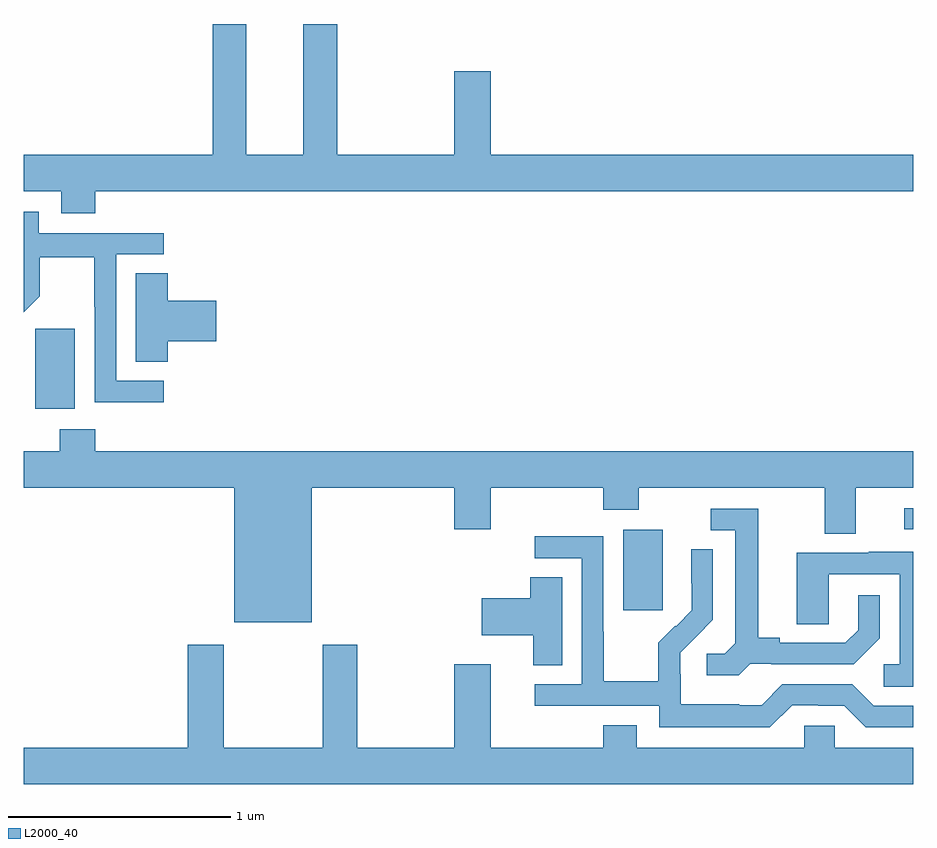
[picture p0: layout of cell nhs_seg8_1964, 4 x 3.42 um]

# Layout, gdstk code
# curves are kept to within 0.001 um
import gdstk
lib = gdstk.Library(unit=1e-6, precision=1e-09)
def R(c, l, rs):  # rectangles x0, y0, x1, y1
    for r in rs: c.add(gdstk.rectangle(r[:2], r[2:], *l))
def P(c, l, *ps):  # polygons
    for p in ps: c.add(gdstk.Polygon(p, *l))
L2000_40 = (2000, 40)

nhs_seg8_1964 = lib.new_cell('nhs_seg8_1964')
R(nhs_seg8_1964, L2000_40, [(237.695,1133.265,237.874,1133.626), (238.959,1133.628,239,1133.724), (235.052,1134.17,235.231,1134.531)])
P(nhs_seg8_1964, L2000_40, [(235.322,1135.148),(239,1135.148),(239,1135.312),(237.1,1135.312),(237.1,1135.687),(236.936,1135.687),(236.936,1135.312),(236.411,1135.312),(236.411,1135.9),(236.258,1135.9),(236.258,1135.312),(236.002,1135.312),(236.002,1135.9),(235.85,1135.9),(235.85,1135.312),(235,1135.312),(235,1135.148),(235.169,1135.148),(235.169,1135.049),(235.322,1135.049)],
  [(235.63,1134.297),(235.416,1134.297),(235.416,1134.864),(235.63,1134.864),(235.63,1134.96),(235.068,1134.96),(235.068,1135.057),(235,1135.057),(235,1134.604),(235.073,1134.677),(235.073,1134.852),(235.318,1134.852),(235.318,1134.628),(235.32,1134.628),(235.32,1134.199),(235.63,1134.199)],
  [(235.649,1134.473),(235.867,1134.473),(235.867,1134.656),(235.649,1134.656),(235.649,1134.779),(235.505,1134.779),(235.505,1134.382),(235.649,1134.382)],
  [(236.296,1133.816),(236.936,1133.816),(236.936,1133.628),(237.1,1133.628),(237.1,1133.816),(237.605,1133.816),(237.605,1133.717),(237.765,1133.717),(237.765,1133.816),(238.601,1133.816),(238.601,1133.608),(238.741,1133.608),(238.741,1133.816),(239,1133.816),(239,1133.98),(235.322,1133.98),(235.322,1134.079),(235.162,1134.079),(235.162,1133.98),(235,1133.98),(235,1133.816),(235.946,1133.816),(235.946,1133.21),(236.296,1133.21)],
  [(238.266,1133.025),(238.36,1133.025),(238.36,1133.022),(238.732,1133.022),(238.848,1133.138),(238.848,1133.332),(238.751,1133.332),(238.751,1133.175),(238.694,1133.118),(238.399,1133.118),(238.399,1133.141),(238.303,1133.141),(238.303,1133.721),(238.089,1133.721),(238.089,1133.625),(238.199,1133.625),(238.199,1133.117),(238.152,1133.07),(238.071,1133.07),(238.071,1132.973),(238.214,1132.973)],
  [(238.455,1132.839),(238.571,1132.839),(238.571,1132.836),(238.689,1132.836),(238.785,1132.74),(239,1132.74),(239,1132.836),(238.821,1132.836),(238.725,1132.932),(238.41,1132.932),(238.317,1132.839),(238.217,1132.839),(238.217,1132.843),(237.954,1132.843),(237.954,1132.977),(237.952,1132.977),(237.952,1133.074),(238.098,1133.222),(238.098,1133.54),(238.002,1133.54),(238.002,1133.386),(238.004,1133.386),(238.004,1133.264),(237.933,1133.193),(237.93,1133.196),(237.853,1133.119),(237.853,1132.945),(237.609,1132.945),(237.609,1133.168),(237.606,1133.168),(237.606,1133.598),(237.297,1133.598),(237.297,1133.499),(237.51,1133.499),(237.51,1132.932),(237.297,1132.932),(237.297,1132.836),(237.858,1132.836),(237.858,1132.739),(238.355,1132.739)],
  [(239,1133.527),(238.799,1133.527),(238.799,1133.523),(238.475,1133.523),(238.475,1133.203),(238.62,1133.203),(238.62,1133.427),(238.938,1133.427),(238.938,1133.022),(238.866,1133.022),(238.866,1132.921),(239,1132.921)],
  [(237.421,1133.414),(237.278,1133.414),(237.278,1133.319),(237.06,1133.319),(237.06,1133.153),(237.29,1133.153),(237.29,1133.017),(237.421,1133.017)],
  [(239,1132.648),(238.647,1132.648),(238.647,1132.746),(238.509,1132.746),(238.509,1132.648),(237.757,1132.648),(237.757,1132.747),(237.605,1132.747),(237.605,1132.648),(237.1,1132.648),(237.1,1133.023),(236.936,1133.023),(236.936,1132.648),(236.499,1132.648),(236.499,1133.11),(236.344,1133.11),(236.344,1132.648),(235.899,1132.648),(235.899,1133.11),(235.739,1133.11),(235.739,1132.648),(235,1132.648),(235,1132.484),(239,1132.484)])

lib.write_gds('nhs_seg8_1964.gds')
